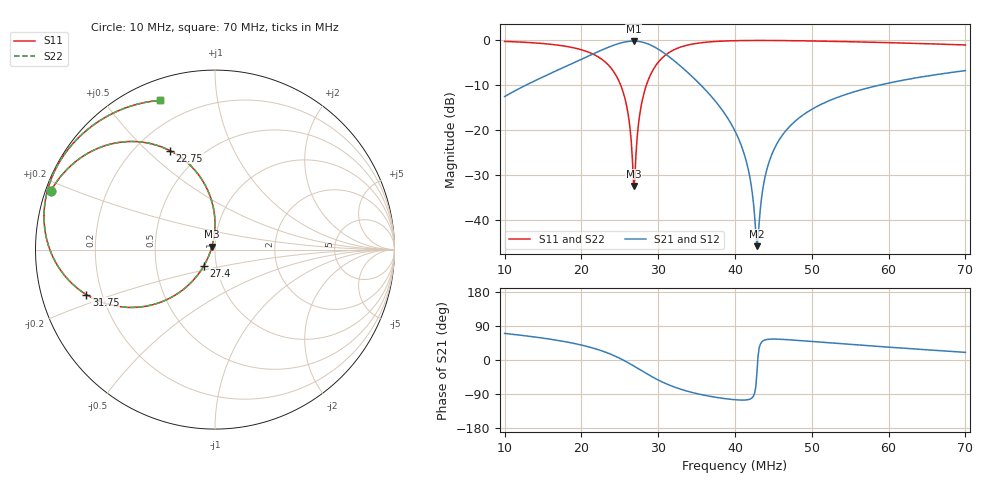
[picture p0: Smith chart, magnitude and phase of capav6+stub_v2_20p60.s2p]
! Touchstone file exported from HFSS 2025.2.0
!  File:  C:/Users/32474/OneDrive - UCL/Documents/Ingenieur/MASTER1/Stage/HFSS/capav6+stub.aedt
!  Generated:  07:32:12 PM Jul 17, 2026
!  Design:  HFSSDesign1
!  Project:  capav6+stub
!  Setup:  Setup4
!  Solution:  Sweep
# GHz S MA R 50.000000
! Terminal data exported
! Port[1] = capa_20p60_v2_1_1
! Port[2] = capa_20p60_v2_1_2
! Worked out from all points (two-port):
!   401 points, 10 MHz to 70 MHz, reference 50 ohm
!   highest |S21| = -0.18 dB at 26.8 MHz (marker M1); lowest = -45.8 dB at 42.85 MHz (marker M2)
!   |S21| within 3 dB of the highest: 21.33 MHz to 31.04 MHz (9.706 MHz wide, 37.1 % of centre)
!   lowest |S11| = -32.5 dB at 26.8 MHz (marker M3), VSWR 1.05, Z = 48.3 + j1.62 ohm
!   |S11| at or under -10 dB: 25.11 MHz to 28.46 MHz (3.345 MHz wide, 12.5 % of centre)
!   |S22| runs from -32.5 to 0.0 dB; largest |S21 - S12| = 9.7e-15
!   S11 on the Smith chart (normalised r, x): 10 MHz: 0.01, +0.17; 22.75 MHz: 0.34, +0.59; 27.4 MHz: 0.87, -0.16; 31.75 MHz: 0.14, -0.17; 70 MHz: 0.09, +0.69
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0.01  0.9714 160.3  0.2362 70.2  0.2362 70.2  0.9714 160.3
! Gamma 4.29697051666312E-05 0.209627589892663 4.3677466973427E-05 0.209628337336156
! Port Impedance 50 0 50 0
0.0157  0.9076 145.9  0.4168 55.7  0.4168 55.7  0.9076 145.8
0.02005  0.7815 129.7  0.6175 39.2  0.6175 39.2  0.7815 129.7
0.02275  0.6058 114.5  0.7852 23.5  0.7852 23.5  0.6058 114.5
0.02545  0.2618 93.5  0.9482 -0.3  0.9482 -0.3  0.2618 93.4
0.02605  0.1564 90.0  0.9691 -6.9  0.9691 -6.9  0.1564 90.0
0.0268  0.02381 135.4  0.9791 -15.6  0.9791 -15.6  0.02368 135.2
0.0271  0.05276 -133.3  0.9773 -19.2  0.9773 -19.2  0.0527 -133.2
0.0274  0.1106 -124.5  0.9718 -22.8  0.9718 -22.8  0.1105 -124.4
0.0283  0.2864 -128.6  0.9342 -33.7  0.9342 -33.7  0.2864 -128.6
0.0301  0.5826 -146.4  0.7865 -53.8  0.7865 -53.8  0.5825 -146.5
0.03175  0.7598 -160.7  0.6227 -68.6  0.6227 -68.6  0.7598 -160.8
0.03505  0.9248 179.2  0.3498 -88.8  0.3498 -88.8  0.9248 179.2
0.04  0.9887 161.4  0.09758 -104.8  0.09758 -104.8  0.9887 161.4
0.04165  0.9936 157.0  0.03901 -104.8  0.03901 -104.8  0.9936 157.0
0.04285  0.9949 154.1  0.005103 -35.6  0.005103 -35.6  0.9949 154.1
0.04315  0.995 153.4  0.009415 32.0  0.009415 32.0  0.995 153.4
0.0439  0.9949 151.7  0.02976 52.8  0.02976 52.8  0.9949 151.7
0.0451  0.9938 149.2  0.06145 55.2  0.06145 55.2  0.9938 149.2
0.05005  0.982 139.9  0.1712 48.8  0.1712 48.8  0.982 139.8
0.0601  0.9401 124.1  0.3349 33.7  0.3349 33.7  0.9401 124.1
0.07  0.8866 110.4  0.4592 20.2  0.4592 20.2  0.8866 110.4
